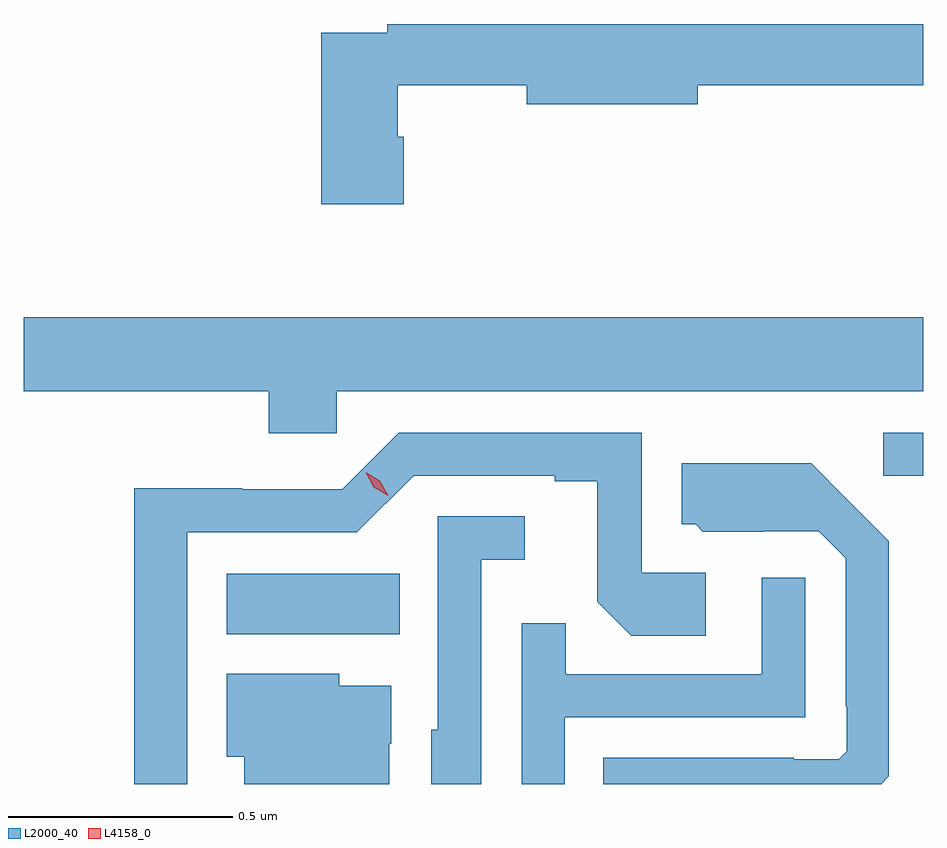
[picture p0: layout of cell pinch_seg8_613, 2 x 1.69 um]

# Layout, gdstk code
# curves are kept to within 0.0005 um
import gdstk
lib = gdstk.Library(unit=1e-6, precision=1e-09)
def R(c, l, rs):  # rectangles x0, y0, x1, y1
    for r in rs: c.add(gdstk.rectangle(r[:2], r[2:], *l))
def P(c, l, *ps):  # polygons
    for p in ps: c.add(gdstk.Polygon(p, *l))
L2000_40 = (2000, 40)
L4158_0 = (4158, 0)

pinch_seg8_613 = lib.new_cell('pinch_seg8_613')
R(pinch_seg8_613, L2000_40, [(114.506,1085.324,114.89,1085.458), (115.965,1085.676,116.054,1085.772)])
P(pinch_seg8_613, L2000_40, [(114.899,1086.429),(114.886,1086.429),(114.886,1086.544),(115.172,1086.544),(115.172,1086.502),(115.552,1086.502),(115.552,1086.544),(116.054,1086.544),(116.054,1086.68),(114.862,1086.68),(114.862,1086.66),(114.716,1086.66),(114.716,1086.279),(114.899,1086.279)],
  [(114.75,1085.864),(116.054,1085.864),(116.054,1086.028),(114.054,1086.028),(114.054,1085.864),(114.599,1085.864),(114.599,1085.771),(114.75,1085.771)],
  [(114.418,1085.55),(114.795,1085.55),(114.921,1085.676),(115.235,1085.676),(115.235,1085.664),(115.329,1085.664),(115.329,1085.396),(115.405,1085.32),(115.57,1085.32),(115.57,1085.46),(115.428,1085.46),(115.428,1085.772),(114.888,1085.772),(114.762,1085.646),(114.54,1085.646),(114.54,1085.648),(114.3,1085.648),(114.3,1084.991),(114.418,1084.991)],
  [(115.977,1085.008),(115.977,1085.53),(115.805,1085.704),(115.517,1085.704),(115.517,1085.568),(115.548,1085.568),(115.564,1085.552),(115.698,1085.552),(115.698,1085.553),(115.821,1085.553),(115.881,1085.493),(115.881,1085.164),(115.884,1085.164),(115.884,1085.064),(115.866,1085.046),(115.766,1085.046),(115.766,1085.049),(115.342,1085.049),(115.342,1084.991),(115.96,1084.991)],
  [(115.071,1085.489),(115.168,1085.489),(115.168,1085.586),(114.975,1085.586),(114.975,1085.112),(114.96,1085.112),(114.96,1084.991),(115.071,1084.991)],
  [(115.257,1085.139),(115.791,1085.139),(115.791,1085.449),(115.695,1085.449),(115.695,1085.235),(115.259,1085.235),(115.259,1085.348),(115.161,1085.348),(115.161,1084.991),(115.257,1084.991)],
  [(114.867,1085.08),(114.871,1085.08),(114.871,1085.209),(114.756,1085.209),(114.756,1085.236),(114.506,1085.236),(114.506,1085.052),(114.545,1085.052),(114.545,1084.991),(114.867,1084.991)])
P(pinch_seg8_613, L4158_0, [(114.864,1085.632),(114.832,1085.651),(114.814,1085.684),(114.814,1085.684),(114.815,1085.684),(114.846,1085.665),(114.864,1085.632),(114.864,1085.632)])

lib.write_gds('pinch_seg8_613.gds')
